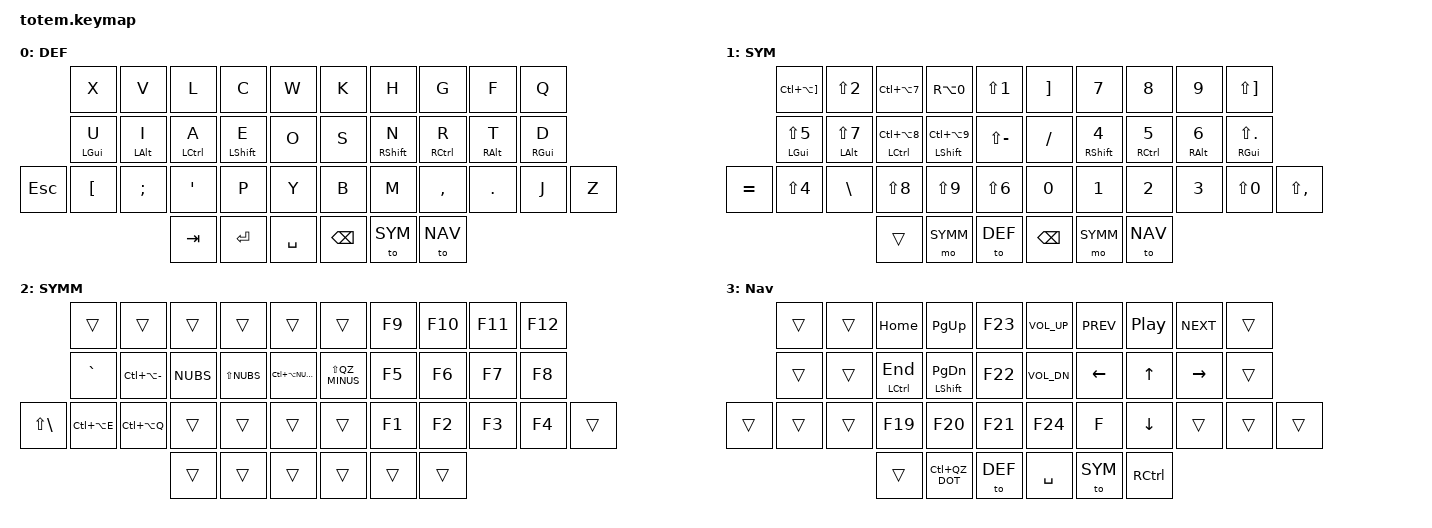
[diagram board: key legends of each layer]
//
//                                                        ▀▀▀▀▀     ▀▀▀▀▀          ▀▀█▀▀
//                                                        ▄▀▀▀▄  ▄  ▄▀▀▀▄  ▄  ▄▀▀▀▄  █  ▄▀▀▀▄
//                                                        █   █  █  █   █  █  █   █  █  █   █
//                                                         ▀▀▀   █   ▀▀▀   █   ▀▀▀   ▀   ▀▀▀
//                                                               █      ▄▄▄█▄▄▄    █   █  
//                                                               ▀      █  █  █     █▄█
//                                                             ▀▀▀▀▀    █  █  █      ▀
//                                                                      ▀  ▀  ▀
//
// ▄▄▄▄▄▄▄▄▄▄▄▄▄▄▄▄▄▄▄▄▄▄▄▄▄▄▄▄▄▄▄▄▄▄▄▄▄▄▄▄▄▄▄▄▄▄▄▄▄▄▄▄▄▄▄▄▄▄▄▄▄▄▄▄▄▄▄▄▄▄▄▄▄▄▄▄▄▄▄▄▄▄▄▄▄▄▄▄▄▄▄▄▄▄▄▄▄▄▄▄▄▄▄▄▄▄▄▄▄▄▄▄▄▄▄▄▄▄▄▄▄▄▄▄▄▄▄▄▄▄▄▄▄▄▄▄▄▄▄▄▄▄▄▄▄▄▄▄▄

#define SHFT LSHFT
#define CTRL LCTRL
#define OPT LALT
#define CMD LGUI

/*
 * Number row
 * ┌─────┬─────┬─────┬─────┬─────┬─────┬─────┬─────┬─────┬─────┬─────┬─────┬─────┐
 * │  ^  │  1  │  2  │  3  │  4  │  5  │  6  │  7  │  8  │  9  │  0  │  ß  │  ´  │
 * └─────┴─────┴─────┴─────┴─────┴─────┴─────┴─────┴─────┴─────┴─────┴─────┴─────┘
 */
#define QZ_1     N1
#define QZ_2     N2
#define QZ_3     N3
#define QZ_4     N4
#define QZ_5     N5
#define QZ_6     N6
#define QZ_7     N7
#define QZ_8     N8
#define QZ_9     N9
#define QZ_0     N0
#define QZ_SZ    MINUS // ß
#define QZ_GRAVE EQUAL // `

/*
 * Shifted number row
 * ┌─────┬─────┬─────┬─────┬─────┬─────┬─────┬─────┬─────┬─────┬─────┬─────┐
 * │  >  │  !  │  "  │  §  │  $  │  %  │  &  │  /  │  (  │  )  │  =  │  ?  │
 * └─────┴─────┴─────┴─────┴─────┴─────┴─────┴─────┴─────┴─────┴─────┴─────┘
 */
#define QZ_EXCLAMATION       LS(N1)    // !
#define QZ_DOUBLE_QUOTES     LS(N2)    // "
#define QZ_PARA              LS(N3)    // §
#define QZ_USD               LS(N4)    // $
#define QZ_PERCENT           LS(N5)    // %
#define QZ_AMPERSAND         LS(N6)    // "&"
#define QZ_SLASH             LS(N7)    // "/"
#define QZ_LEFT_PARENTHESIS  LS(N8)    // "("
#define QZ_RIGHT_PARENTHESIS LS(N9)    // ")"
#define QZ_EQUAL             LS(N0)    // "="
#define QZ_QMARK             LS(MINUS) // "?"

/*
 * Alt number row
 * ┌─────┬─────┬─────┬─────┬─────┬─────┬─────┬─────┬─────┬─────┬─────┬─────┐
 * │     │     │     │     │     │  [  │  ]  │  |  │  {  │  }  │     │     │
 * └─────┴─────┴─────┴─────┴─────┴─────┴─────┴─────┴─────┴─────┴─────┴─────┘
 */
#define QZ_LEFT_BRACKET  LC(LA(N8)) // [
#define QZ_RIGHT_BRACKET LC(LA(N9)) // ]
#define QZ_PIPE          LC(LA(NUBS)) // |
#define QZ_LEFT_BRACE    LC(LA(N7)) // {
#define QZ_RIGHT_BRACE   RA(N0) // }

/*
 * Alt shifted number row
 * ┌─────┬─────┬─────┬─────┬─────┬─────┬─────┬─────┬─────┬─────┬─────┬─────┐
 * │     │     │     │     │     │     │  ^  │  \  │     │     │     │     │
 * └─────┴─────┴─────┴─────┴─────┴─────┴─────┴─────┴─────┴─────┴─────┴─────┘
 */
#define QZ_BACKSLASH         LC(LA(MINUS)) /* \ */
#define QZ_CARET             GRAVE // ^

/*
 * Q row
 * ┌─────┬─────┬─────┬─────┬─────┬─────┬─────┬─────┬─────┬─────┬─────┬─────┬─────┐
 * │  Q  │  W  │  E  │  R  │  T  │  Z  │  U  │  I  │  O  │  P  │  Ü  │  +  │  #  |
 * └─────┴─────┴─────┴─────┴─────┴─────┴─────┴─────┴─────┴─────┴─────┴─────┴─────┘
 */
#define QZ_Q    Q
#define QZ_W    W
#define QZ_E    E
#define QZ_R    R
#define QZ_T    T
#define QZ_Z    Y
#define QZ_U    U
#define QZ_I    I
#define QZ_O    O
#define QZ_P    P
#define QZ_UE   LEFT_BRACKET  // Ü
#define QZ_PLUS RIGHT_BRACKET // +  (Shifted: *)

/*
 * Shifted Q row
 * ┌─────┬─────┬─────┬─────┬─────┬─────┬─────┬─────┬─────┬─────┬─────┬─────┬─────┐
 * │     │     │     │     │     │     │     │     │     │     │     │  *  │  '  |
 * └─────┴─────┴─────┴─────┴─────┴─────┴─────┴─────┴─────┴─────┴─────┴─────┴─────┘
 */
#define QZ_ASTERISK     LS(RIGHT_BRACKET) // *
#define QZ_SINGLE_QUOTE LS(BACKSLASH) // '

/*
 * Alt shifted Q row
 * ┌─────┬─────┬─────┬─────┬─────┬─────┬─────┬─────┬─────┬─────┬─────┬─────┬─────┐
 * │     │     │  €  │     │     │     │     │     │     │     │     │     │     |
 * └─────┴─────┴─────┴─────┴─────┴─────┴─────┴─────┴─────┴─────┴─────┴─────┴─────┘
 */
#define QZ_EURO LC(LA(E)) // €

/*
 * A row
 * ┌─────┬─────┬─────┬─────┬─────┬─────┬─────┬─────┬─────┬─────┬─────┬─────┐
 * │  A  │  S  │  D  │  F  │  G  │  H  │  J  │  K  │  L  │  Ö  │  Ä  │  #  │
 * └─────┴─────┴─────┴─────┴─────┴─────┴─────┴─────┴─────┴─────┴─────┴─────┘
 */
#define QZ_A    A
#define QZ_S    S
#define QZ_D    D
#define QZ_F    F
#define QZ_G    G
#define QZ_H    H
#define QZ_J    J
#define QZ_K    K
#define QZ_L    L
#define QZ_OE   SEMICOLON    // Ö
#define QZ_AE   SINGLE_QUOTE // Ä
#define QZ_HASH BACKSLASH    // #

/*
 * Alt A row
 * ┌─────┬─────┬─────┬─────┬─────┬─────┬─────┬─────┬─────┬─────┬─────┬─────┬─────┐
 * │     │     │     │     │     │     │     │     │  @  │     │     │     │     |
 * └─────┴─────┴─────┴─────┴─────┴─────┴─────┴─────┴─────┴─────┴─────┴─────┴─────┘
 */
#define QZ_AT LC(LA(Q)) // @

/*
 * Bottom row
 * ┌─────┬─────┬─────┬─────┬─────┬─────┬─────┬─────┬─────┬─────┬─────┐
 * │  <  │  Y  │  X  │  C  │  V  │  B  │  N  │  M  │  ,  │  .  │  -  │
 * └─────┴─────┴─────┴─────┴─────┴─────┴─────┴─────┴─────┴─────┴─────┘
 */
#define QZ_GT        NUBS      // <
#define QZ_LW        LS(NUBS)     // >
#define QZ_Y         Z      
#define QZ_X         X
#define QZ_C         C
#define QZ_V         V
#define QZ_B         B
#define QZ_N         N
#define QZ_M         M
#define QZ_COMMA     COMMA     // ,
#define QZ_DOT       PERIOD    // .
#define QZ_MINUS     SLASH     // -
#define QZ_COLON     LS(DOT)   // :
#define QZ_SEMICOLON LS(COMMA) // ;

#define QZ_UNDER LS(QZ_MINUS)
#define QZ_TILDE LC(LA(RIGHT_BRACKET))

// ▄▄▄▄▄▄▄▄▄▄▄▄▄▄▄▄▄▄▄▄▄▄▄▄▄▄▄▄▄▄▄▄▄▄▄▄▄▄▄▄▄▄▄▄▄▄▄▄▄▄▄▄▄▄▄▄▄▄▄▄▄▄▄▄▄▄▄▄▄▄▄▄▄▄▄▄▄▄▄▄▄▄▄▄▄▄▄▄▄▄▄▄▄▄▄▄▄▄▄▄▄▄▄▄▄▄▄▄▄▄▄▄▄▄▄▄▄▄▄▄▄▄▄▄▄▄▄▄▄▄▄▄▄▄▄▄▄▄▄▄▄▄▄▄▄▄▄▄▄

#include <behaviors.dtsi>
#include <dt-bindings/zmk/bt.h>
#include <dt-bindings/zmk/ext_power.h>
#include <dt-bindings/zmk/keys.h>
#include <dt-bindings/zmk/outputs.h>


#define DEF         0
#define SYM         1
#define SYMM        2
#define NAV         3


&mt {
    quick-tap-ms = <100>;
    global-quick-tap;
    flavor = "tap-preferred";
    tapping-term-ms = <170>;
};

&lt {
    tapping-term-ms = <240>;
    flavor = "balanced";
    quick-tap-ms = <150>;
};

/ {
    behaviors {
        hm: homerow_mods {
            compatible = "zmk,behavior-hold-tap";
            label = "HOMEROW_MODS";
            #binding-cells = <2>;
            flavor = "tap-preferred";
            tapping-term-ms = <200>;
            quick-tap-ms = <125>;
            global-quick-tap;
            bindings =
                <&kp>,
                <&kp>;
        };
    };

    combos {
        compatible = "zmk,combos";
        combo_del {
            timeout-ms = <50>;
            key-positions = <23 24>;
            layers = <0>;
            bindings = <&kp DEL>;
        };
        combo_de_eszett {
            timeout-ms = <50>;
            key-positions = <27 28>;
            layers = <0>;
            bindings = <&kp QZ_SZ>;
        };

    };

    keymap {
        compatible = "zmk,keymap";

        DEF {            // neo
            label = "DEF";
            bindings = <
                    &kp X           &kp V          &kp L          &kp C           &kp W      /**/    &kp K       &kp H        &kp G         &kp F       &kp Q
                    &hm LGUI U      &hm LALT I     &hm LCTRL A    &hm LSHIFT E    &kp O      /**/    &kp S       &hm RSHFT N  &hm RCTRL R   &hm RALT T  &hm RGUI D
    &kp ESCAPE      &kp  QZ_UE      &kp QZ_OE      &kp QZ_AE      &kp P           &kp QZ_Z   /**/    &kp B       &kp M        &kp QZ_COMMA  &kp QZ_DOT  &kp J        &kp QZ_Y 
                                                   &kp TAB        &kp ENTER       &kp SPACE  /**/    &kp BSPC    &to SYM      &to NAV
            >;
        };


    //     DEF {           // qwertz
    //         label = "DEF";
    //         bindings = <
    //                 &kp Q           &kp W          &kp E          &kp R           &kp T      /**/    &kp QZ_Z    &kp U        &kp I         &kp O       &kp P
    //                 &hm LGUI A      &hm LALT S     &hm LCTRL D    &hm LSHIFT F    &kp G      /**/    &kp H       &hm RSHFT J  &hm RCTRL K   &hm RALT L  &hm RGUI QZ_DOT
    // &kp ESCAPE      &kp QZ_Y        &kp X          &kp C          &kp V           &kp B      /**/    &kp N       &kp M        &kp QZ_AE     &kp QZ_OE   &kp QZ_UE        &kp COMMA
    //                                                &kp TAB        &kp ENTER       &kp SPACE  /**/    &kp BSPC    &to SYM      &to NAV
    //         >;
    //     };

    
        SYM {
            label = "SYM";
            bindings = <
                    &kp QZ_TILDE        &kp QZ_DOUBLE_QUOTES    &kp QZ_LEFT_BRACE           &kp QZ_RIGHT_BRACE              &kp QZ_EXCLAMATION      /**/    &kp QZ_PLUS  &kp N7         &kp N8        &kp N9        &kp QZ_ASTERISK
                    &hm LGUI QZ_PERCENT &hm LALT QZ_SLASH       &hm LCTRL QZ_LEFT_BRACKET   &hm LSHIFT QZ_RIGHT_BRACKET     &kp QZ_QMARK            /**/    &kp QZ_MINUS &hm RSHFT N4   &hm RCTRL N5  &hm RALT N6   &hm RGUI QZ_COLON
    &kp QZ_GRAVE    &kp QZ_USD          &kp QZ_HASH             &kp QZ_LEFT_PARENTHESIS     &kp QZ_RIGHT_PARENTHESIS        &kp QZ_AMPERSAND        /**/    &kp N0       &kp N1         &kp N2        &kp N3        &kp QZ_EQUAL      &kp QZ_SEMICOLON
                                                                                                         &trans         &mo SYMM      &to DEF       /**/    &kp BSPC     &mo SYMM    &to NAV

            >;
        };

        SYMM {
            label = "SYMM";
            bindings = <
                    &trans        &trans             &trans         &trans      &trans       /**/     &trans        &kp F9  &kp F10  &kp F11 &kp F12 
                    &kp QZ_CARET  &kp QZ_BACKSLASH   &kp QZ_GT      &kp QZ_LW   &kp QZ_PIPE  /**/     &kp QZ_UNDER  &kp F5  &kp F6   &kp F7  &kp F8
&kp QZ_SINGLE_QUOTE &kp QZ_EURO   &kp QZ_AT          &trans         &trans      &trans       /**/     &trans        &kp F1  &kp F2   &kp F3  &kp F4  &trans
                                                     &trans         &trans      &trans       /**/     &trans        &trans  &trans

            >;
        };

        Nav {
            label = "Nav";
            bindings = <
                    &trans      &trans     &kp HOME           &kp PAGE_UP             &kp F23    /**/     &kp C_VOL_UP  &kp C_PREV  &kp C_PP  &kp C_NEXT &trans 
                    &trans      &trans     &hm LCTRL END      &hm LSHIFT PAGE_DOWN    &kp F22    /**/     &kp C_VOL_DN  &kp LEFT    &kp UP    &kp RIGHT  &trans
        &trans      &trans      &trans     &kp F19            &kp F20                 &kp F21    /**/     &kp F24       &kp F       &kp DOWN  &trans     &trans  &trans
                                           &trans             &kp LC(QZ_DOT)          &to DEF    /**/     &kp SPACE     &to SYM     &kp RCTRL
            >;
        };



    };
};
